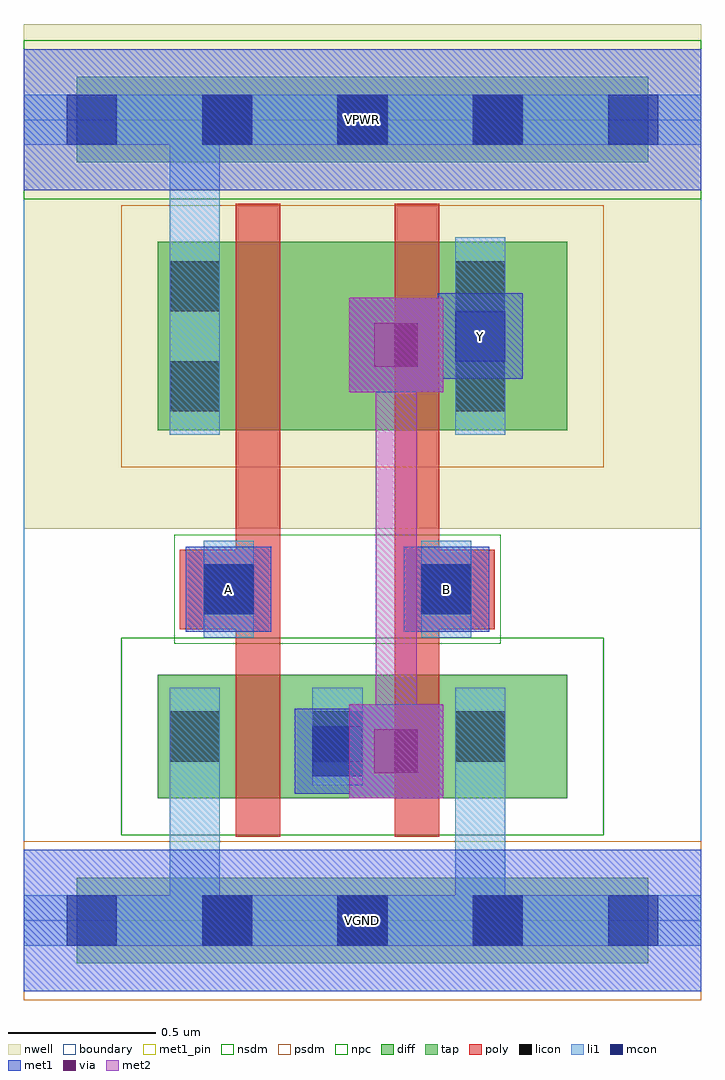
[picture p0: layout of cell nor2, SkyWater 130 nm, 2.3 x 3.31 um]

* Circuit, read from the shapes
.subckt nor2 A B VGND VPWR Y
XM1 Y A VGND VGND sky130_fd_pr__nfet_01v8 w=0.42 l=0.15
XM2 VGND B Y VGND sky130_fd_pr__nfet_01v8 w=0.42 l=0.15
XM3 n1 A VPWR VPWR sky130_fd_pr__pfet_01v8 w=0.64 l=0.15
XM4 Y B n1 VPWR sky130_fd_pr__pfet_01v8 w=0.64 l=0.15
.ends

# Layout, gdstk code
import gdstk
lib = gdstk.Library(unit=1e-6, precision=1e-09)
def R(c, l, rs):  # rectangles x0, y0, x1, y1
    for r in rs: c.add(gdstk.rectangle(r[:2], r[2:], *l))
def A(c, l, x, y, w, h, nx, ny, dx, dy):  # array of equal rectangles
    R(c, l, [(x+i*dx, y+j*dy, x+i*dx+w, y+j*dy+h) for i in range(nx) for j in range(ny)])
nwell = (64, 20)
diff = (65, 20)
tap = (65, 44)
poly = (66, 20)
licon = (66, 44)
li1 = (67, 20)
mcon = (67, 44)
met1_pin = (68, 16)
met1 = (68, 20)
via = (68, 44)
met2 = (69, 20)
nsdm = (93, 44)
psdm = (94, 20)
npc = (95, 20)
boundary = (235, 4)

nor2 = lib.new_cell('nor2')
R(nor2, nwell, [(0,1.33,2.3,3.045)])
R(nor2, diff, [(0.455,0.415,1.845,0.835), (0.455,1.665,1.845,2.305)])
R(nor2, tap, [(0.18,-0.145,2.12,0.145), (0.18,2.575,2.12,2.865)])
R(nor2, poly, [(0.72,0.285,0.87,2.435), (1.26,0.285,1.41,2.435), (0.53,0.99,0.86,1.26), (1.27,0.99,1.6,1.26)])
A(nor2, licon, 0.605, -0.085, 0.17, 0.17, 3, 2, 0.46, 2.72)
A(nor2, licon, 0.495, 0.54, 0.17, 0.17, 3, 1, 0.485, 0)
R(nor2, licon, [(0.61,1.04,0.78,1.21), (1.35,1.04,1.52,1.21), (0.495,1.73,0.665,1.9), (1.465,1.73,1.635,1.9), (0.495,2.07,0.665,2.24), (1.465,2.07,1.635,2.24)])
A(nor2, li1, 0.495, 0.46, 0.17, 0.33, 3, 1, 0.485, 0)
R(nor2, li1, [(0,-0.085,2.3,0.085), (0.495,-0.085,0.665,0.79), (1.465,-0.085,1.635,0.79), (0.61,0.96,0.78,1.29), (1.35,0.96,1.52,1.29), (0.495,1.65,0.665,2.32), (0.495,1.65,0.665,2.805), (1.465,1.65,1.635,2.32), (0,2.635,2.3,2.805)])
A(nor2, mcon, 0.145, -0.085, 0.17, 0.17, 5, 2, 0.46, 2.72)
R(nor2, mcon, [(0.98,0.49,1.15,0.66), (0.61,1.04,0.78,1.21), (1.35,1.04,1.52,1.21), (1.465,1.9,1.635,2.07)])
R(nor2, met1_pin, [(0,-0.24,2.3,0.24), (0.55,0.98,0.84,1.27), (1.29,0.98,1.58,1.27), (1.405,1.84,1.695,2.13), (0,2.48,2.3,2.96)])
R(nor2, met1, [(0,-0.24,2.3,0.24), (1.105,0.415,1.425,0.735), (0.92,0.43,1.21,0.72), (0.995,0.505,1.335,0.645), (0.55,0.98,0.84,1.27), (1.29,0.98,1.58,1.27), (1.105,1.795,1.425,2.115), (1.405,1.84,1.695,2.13), (1.195,1.885,1.565,2.025), (1.425,1.885,1.565,2.025), (0,2.48,2.3,2.96)])
R(nor2, via, [(1.19,0.5,1.34,0.65), (1.19,1.88,1.34,2.03)])
R(nor2, met2, [(1.105,0.415,1.425,0.735), (1.195,0.505,1.335,2.025), (1.105,1.795,1.425,2.115)])
R(nor2, nsdm, [(0.33,0.29,1.97,0.96), (0,2.45,2.3,2.99)])
R(nor2, psdm, [(0,-0.27,2.3,0.27), (0.33,1.54,1.97,2.43)])
R(nor2, npc, [(0.51,0.94,1.62,1.31)])
R(nor2, boundary, [(0,0,2.3,2.72)])
nor2.add(gdstk.Label('A', (0.695,1.125), layer=68, texttype=5))
nor2.add(gdstk.Label('B', (1.435,1.125), layer=68, texttype=5))
nor2.add(gdstk.Label('Y', (1.55,1.985), layer=68, texttype=5))
nor2.add(gdstk.Label('VPWR', (1.15,2.72), layer=68, texttype=5))
nor2.add(gdstk.Label('VGND', (1.15,0), layer=68, texttype=5))
nor2.add(gdstk.Label('A', (0.695,1.125), layer=68, texttype=16))
nor2.add(gdstk.Label('B', (1.435,1.125), layer=68, texttype=16))
nor2.add(gdstk.Label('Y', (1.55,1.985), layer=68, texttype=16))
nor2.add(gdstk.Label('VPWR', (1.15,2.72), layer=68, texttype=16))
nor2.add(gdstk.Label('VGND', (1.15,0), layer=68, texttype=16))

lib.write_gds('nor2.gds')
